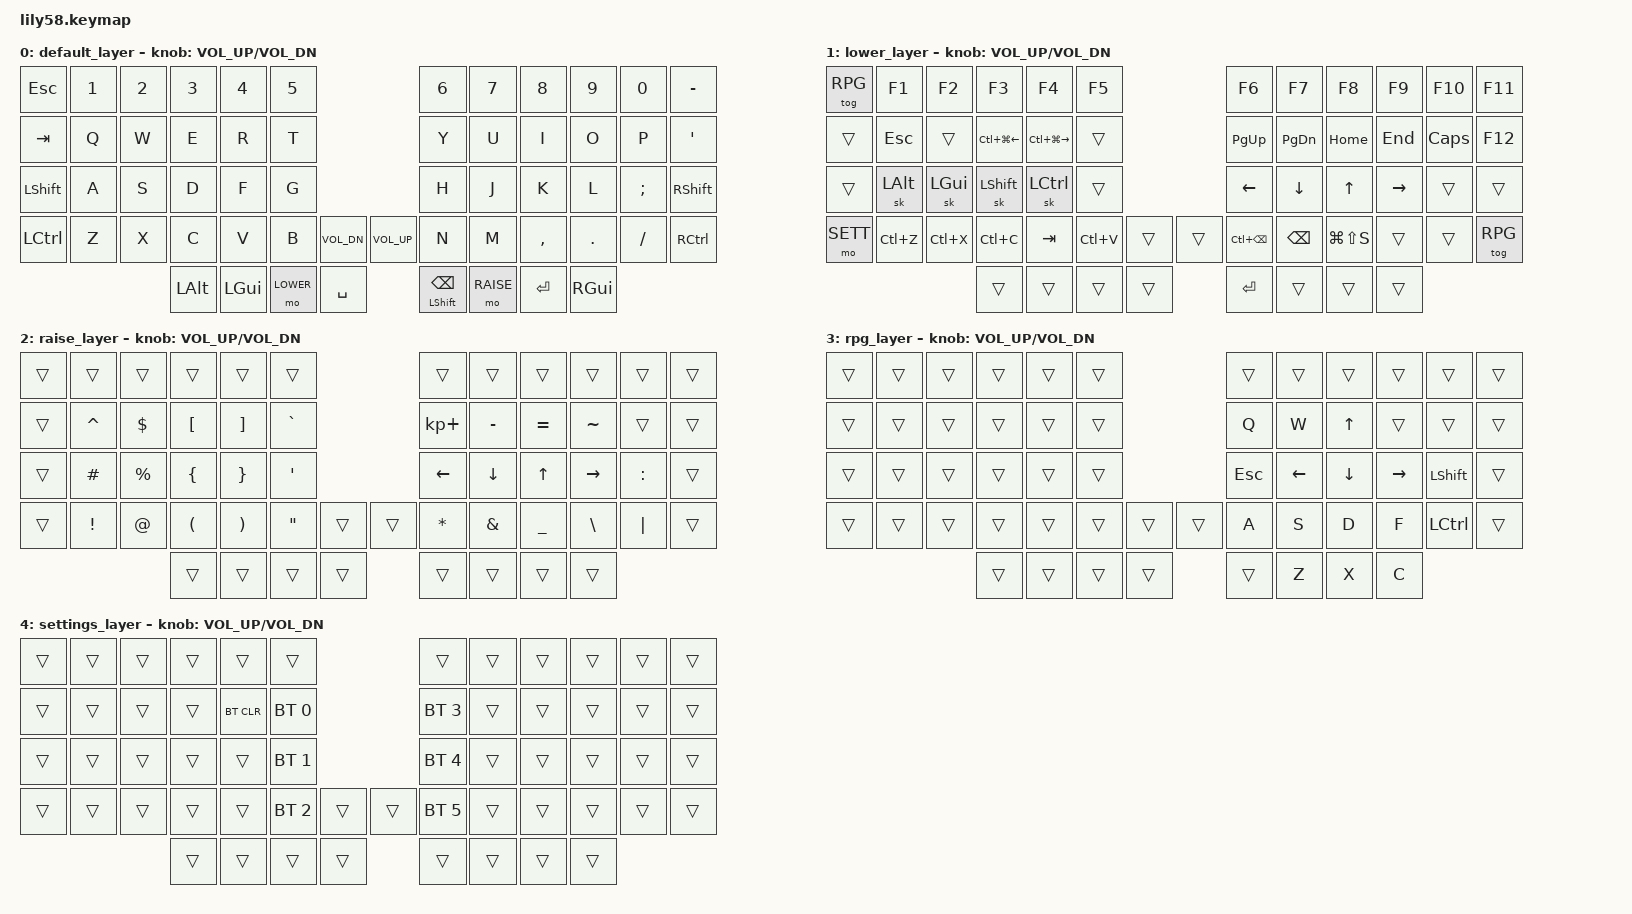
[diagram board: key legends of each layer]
/*
 * Copyright (c) 2020 The ZMK Contributors
 *
 * SPDX-License-Identifier: MIT
 */

#include <behaviors.dtsi>
#include <dt-bindings/zmk/keys.h>
#include <dt-bindings/zmk/bt.h>
#include <dt-bindings/zmk/ext_power.h>

#define DEFAULT 0
#define LOWER 1
#define RAISE 2
#define RPG 3
#define SETT 4

/ {
    keymap {
        compatible = "zmk,keymap";

        default_layer {

            bindings = <
&kp ESC   &kp N1 &kp N2 &kp N3   &kp N4   &kp N5                             &kp N6 &kp N7   &kp N8    &kp N9  &kp N0   &kp MINUS
&kp TAB   &kp Q  &kp W  &kp E    &kp R    &kp T                              &kp Y  &kp U    &kp I     &kp O   &kp P    &kp SQT
&kp LSHFT &kp A  &kp S  &kp D    &kp F    &kp G                              &kp H  &kp J    &kp K     &kp L   &kp SEMI &kp RSHFT
&kp LCTRL &kp Z  &kp X  &kp C    &kp V    &kp B  &kp C_VOL_DN   &kp C_VOL_UP &kp N  &kp M    &kp COMMA &kp DOT &kp FSLH &kp RCTRL
                        &kp LALT &kp LGUI &mo LOWER  &kp SPACE      &mt LSHIFT BSPC &mo RAISE  &kp RET  &kp RGUI
            >;

            sensor-bindings = <&inc_dec_kp C_VOL_UP C_VOL_DN>;
        };

        lower_layer {

                        bindings = <
            &tog RPG  &kp F1    &kp F2    &kp F3            &kp F4            &kp F5                   &kp F6       &kp F7    &kp F8        &kp F9     &kp F10   &kp F11
            &trans  &kp ESC   &trans    &kp LC(LG(LEFT))  &kp LC(LG(RIGHT)) &trans                   &kp PG_UP    &kp PG_DN &kp HOME      &kp END    &kp CAPS  &kp F12
            &trans  &sk LALT  &sk LGUI  &sk LSHFT         &sk LCTRL         &trans                   &kp LEFT     &kp DOWN  &kp UP        &kp RIGHT  &trans    &trans
            &mo SETT  &kp LC(Z) &kp LC(X) &kp LC(C)         &kp TAB           &kp LC(V) &trans &trans  &kp LC(BSPC) &kp BSPC  &kp LG(LS(S)) &trans     &trans    &tog RPG
                                        &trans            &trans            &trans    &trans &kp RET &trans       &trans    &trans
                        >;

            sensor-bindings = <&inc_dec_kp C_VOL_UP C_VOL_DN>;
        };

        raise_layer {

            bindings = <
&trans    &trans     &trans     &trans    &trans    &trans                          &trans      &trans    &trans    &trans    &trans    &trans
&trans    &kp CARET  &kp DLLR   &kp LBKT  &kp RBKT  &kp GRAV                        &kp KP_PLUS &kp MINUS &kp EQUAL &kp TILDE &trans    &trans
&trans    &kp HASH   &kp PRCNT  &kp LBRC  &kp RBRC  &kp SQT                         &kp LEFT    &kp DOWN  &kp UP    &kp RIGHT &kp COLON &trans      
&trans    &kp EXCL   &kp AT     &kp LPAR  &kp RPAR  &kp DQT     &trans   &trans     &kp ASTRK   &kp AMPS  &kp UNDER &kp BSLH  &kp PIPE  &trans
                                      &trans  &trans  &trans    &trans   &trans     &trans      &trans    &trans
            >;

            sensor-bindings = <&inc_dec_kp C_VOL_UP C_VOL_DN>;
        };
        
        rpg_layer {

            bindings = <
&trans    &trans     &trans     &trans    &trans    &trans                          &trans     &trans   &trans    &trans    &trans    &trans
&trans    &trans     &trans     &trans    &trans    &trans                          &kp Q      &kp W    &kp UP    &trans    &trans    &trans
&trans    &trans     &trans     &trans    &trans    &trans                          &kp ESC    &kp LEFT &kp DOWN  &kp RIGHT &kp LSHFT    &trans
&trans    &trans     &trans     &trans    &trans    &trans    &trans    &trans      &kp A     &kp S   &kp D    &kp F    &kp LCTRL    &trans
                                      &trans  &trans  &trans    &trans   &trans     &kp Z      &kp X    &kp C
            >;

            sensor-bindings = <&inc_dec_kp C_VOL_UP C_VOL_DN>;
        };

        settings_layer {

            bindings = <
&trans    &trans     &trans     &trans    &trans    &trans                          &trans    &trans     &trans     &trans    &trans    &trans
&trans    &trans     &trans     &trans    &bt BT_CLR &bt BT_SEL 0                   &bt BT_SEL 3 &trans  &trans     &trans    &trans    &trans
&trans    &trans     &trans     &trans    &trans    &bt BT_SEL 1                    &bt BT_SEL 4 &trans  &trans     &trans    &trans    &trans
&trans    &trans     &trans     &trans    &trans    &bt BT_SEL 2 &trans &trans      &bt BT_SEL 5 &trans  &trans     &trans    &trans    &trans
                                &trans    &trans    &trans    &trans    &trans      &trans    &trans     &trans
            >;

            sensor-bindings = <&inc_dec_kp C_VOL_UP C_VOL_DN>;
        };
    };
};
